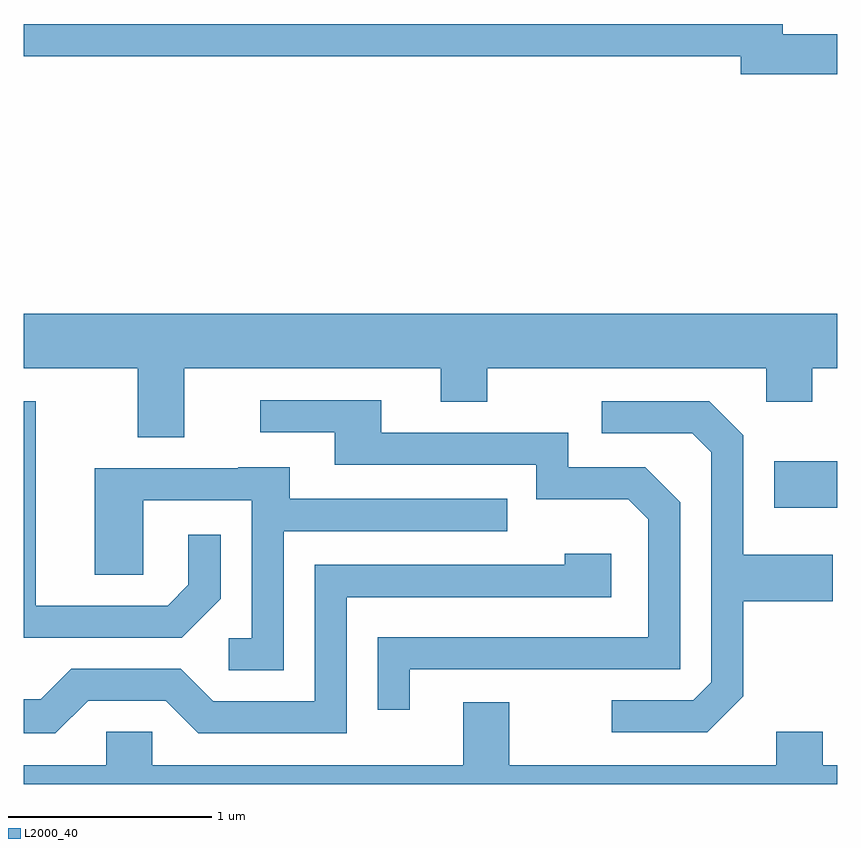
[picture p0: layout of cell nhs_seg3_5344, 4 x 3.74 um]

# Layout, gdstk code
import gdstk
lib = gdstk.Library(unit=1e-6, precision=1e-09)
def R(c, l, rs):  # rectangles x0, y0, x1, y1
    for r in rs: c.add(gdstk.rectangle(r[:2], r[2:], *l))
def P(c, l, *ps):  # polygons
    for p in ps: c.add(gdstk.Polygon(p, *l))
L2000_40 = (2000, 40)

nhs_seg3_5344 = lib.new_cell('nhs_seg3_5344')
R(nhs_seg3_5344, L2000_40, [(345.301,1205.251,345.611,1205.479)])
P(nhs_seg3_5344, L2000_40, [(345.611,1207.579),(345.344,1207.579),(345.344,1207.629),(341.611,1207.629),(341.611,1207.471),(345.136,1207.471),(345.136,1207.381),(345.611,1207.381)],
  [(342.399,1205.936),(343.661,1205.936),(343.661,1205.771),(343.889,1205.771),(343.889,1205.936),(345.261,1205.936),(345.261,1205.771),(345.489,1205.771),(345.489,1205.936),(345.611,1205.936),(345.611,1206.204),(341.611,1206.204),(341.611,1205.936),(342.171,1205.936),(342.171,1205.596),(342.399,1205.596)],
  [(343.509,1204.456),(344.839,1204.456),(344.839,1205.277),(344.667,1205.449),(344.289,1205.449),(344.289,1205.619),(343.369,1205.619),(343.369,1205.779),(342.773,1205.779),(342.773,1205.621),(343.141,1205.621),(343.141,1205.461),(344.131,1205.461),(344.131,1205.291),(344.584,1205.291),(344.681,1205.194),(344.681,1204.614),(343.351,1204.614),(343.351,1204.258),(343.509,1204.258)],
  [(342.579,1204.804),(342.579,1205.118),(342.421,1205.118),(342.421,1204.872),(342.319,1204.769),(341.669,1204.769),(341.669,1205.774),(341.611,1205.774),(341.611,1204.611),(342.387,1204.611)],
  [(345.149,1204.324),(345.149,1204.791),(345.589,1204.791),(345.589,1205.019),(345.149,1205.019),(345.149,1205.607),(344.982,1205.774),(344.453,1205.774),(344.453,1205.616),(344.899,1205.616),(344.991,1205.524),(344.991,1204.392),(344.904,1204.304),(344.503,1204.304),(344.503,1204.146),(344.972,1204.146)],
  [(342.889,1205.136),(343.988,1205.136),(343.988,1205.294),(342.919,1205.294),(342.919,1205.449),(342.665,1205.449),(342.665,1205.444),(341.961,1205.444),(341.961,1204.921),(342.199,1204.921),(342.199,1205.286),(342.731,1205.286),(342.731,1204.609),(342.618,1204.609),(342.618,1204.451),(342.889,1204.451)],
  [(341.927,1204.301),(342.309,1204.301),(342.469,1204.141),(343.199,1204.141),(343.199,1204.811),(344.499,1204.811),(344.499,1205.024),(344.271,1205.024),(344.271,1204.969),(343.041,1204.969),(343.041,1204.299),(342.542,1204.299),(342.382,1204.459),(341.844,1204.459),(341.694,1204.309),(341.611,1204.309),(341.611,1204.141),(341.767,1204.141)],
  [(343.771,1204.294),(343.771,1203.984),(342.244,1203.984),(342.244,1204.149),(342.016,1204.149),(342.016,1203.984),(341.611,1203.984),(341.611,1203.892),(345.611,1203.892),(345.611,1203.984),(345.539,1203.984),(345.539,1204.149),(345.311,1204.149),(345.311,1203.984),(343.999,1203.984),(343.999,1204.294)])

lib.write_gds('nhs_seg3_5344.gds')
